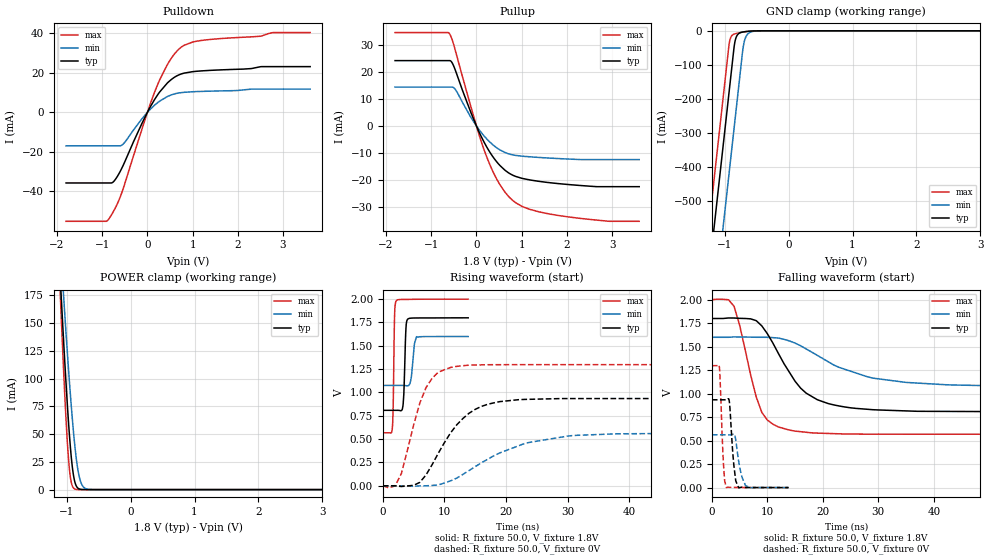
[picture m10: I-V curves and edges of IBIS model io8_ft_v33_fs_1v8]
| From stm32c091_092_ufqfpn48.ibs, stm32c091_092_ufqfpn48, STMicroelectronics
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[Model]   io8_ft_v33_fs_1v8
Model_type I/O
Polarity   Non-Inverting
Enable   Active-Low
| CAP_THRESHOLD on pad IOFT is "UDTCAPC" :
| Rising=30.0% of vddiom   Falling=70.0% of vddiom
| C_comp min and max val. don't necessarily correlate with the min and max pvt
| but are the smallest and greatest pad capacitance found.
| var   typ   min   max
C_comp   1.89030pF  1.85603pF  1.94196pF
|C_comp_pullup   1.06881pF  1.07313pF  1.05620pF
|C_comp_pulldown   821.48315fF  782.90075fF  885.75547fF
Vinl = 800.0mV
Vinh = 1.0V
Vmeas = 900.0mV   | Reference voltage for timing measurements
Cref  = 50.0pF   | Timing specification test load capacitance value
Rref  = 1.0MOhm   | Timing specification test load resistance value
Vref  = 990.0mV   | Timing specification test load voltage
[Model Spec]
| TIME_THRESHOLD on pin ZIV33M is "CMOS" :
| Rising=50.0% of vddiom   Falling=50.0% of vddiom
Vinl 728.70000mV 652.70000mV 817.70000mV
Vinh 1.06430V 953.30000mV 1.16330V
| variable   typ   min   max
[Temperature Range] 25.0 125.0 -40.0
| variable   typ   min   max
[Voltage Range] 1.8V 1.6V 2.0V
| variable   typ   min   max
[POWER Clamp Reference] 1.8V 1.6V 2.0V
| variable   typ   min   max
[GND Clamp Reference] 0V 0V 0V
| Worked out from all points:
|   slope of the pulldown table from 0 to 0.27 V, typ, clamps not added: 26.3 ohm
|   slope of the pullup table from 0 to 0.27 V, typ, clamps not added: 30 ohm
|   GND clamp passes 1 mA (typ) near -0.61 V on its own axis
|   POWER clamp passes 1 mA (typ) near -0.81 V on its own axis
|   rising waveform, R_fixture 50.0, V_fixture 1.8V: 20-80 % time 275ps typ, 431ps min, 193ps max; typ from 0.809 V to 1.8 V
|   falling waveform, R_fixture 50.0, V_fixture 1.8V: 20-80 % time 6.6ns typ, 11.6ns min, 3.61ns max; typ from 1.8 V to 0.809 V
|   rising waveform, R_fixture 50.0, V_fixture 0V: 20-80 % time 5.83ns typ, 10.1ns min, 3.41ns max; typ from 0 V to 0.935 V
|   falling waveform, R_fixture 50.0, V_fixture 0V: 20-80 % time 701ps typ, 990ps min, 527ps max; typ from 0.935 V to 0 V
[POWER Clamp]
-1.8V     1.053A     933.5mA    1.262A
-1.1V     191.1mA    222.7mA    177.1mA
-1.08V    169mA      204.2mA    149.9mA
-1.05V    136.9mA    176.9mA    110.9mA
-1.01V    96.55mA    141.6mA    64.02mA
-980mV    68.91mA    116.4mA    35.23mA
-940mV    37.57mA    84.83mA    10.65mA
-880mV    8.969mA    44.34mA    807.4uA
-830mV    1.697mA    20.19mA    75.79uA
-790mV    394.2uA    8.787mA    11.25uA
-670mV    4.467uA    374.2uA    36.56nA
3.6V      0A         0A         0A
[GND Clamp]
-1.8V     -1.658A    -1.897A    -1.517A
-1.24V    -706mA     -945.3mA   -564.6mA
-1.05V    -383mA     -622.3mA   -241.6mA
-930mV    -179mA     -418.3mA   -38.91mA
-910mV    -145mA     -384.3mA   -22.02mA
-870mV    -77.01mA   -316.3mA   -11.35mA
-850mV    -44.09mA   -282.3mA   -9.519mA
-820mV    -19mA      -231.3mA   -7.801mA
-710mV    -3.257mA   -47.82mA   -3.606mA
-660mV    -1.938mA   -14.77mA   -2.175mA
-590mV    -790.4uA   -3.415mA   -786.7uA
3.6V      506.8pA    48.18nA    364.4pA
| variable   typ   min   max
[Pullup Reference] 1.8V 1.6V 2.0V
| variable   typ   min   max
[Pulldown Reference] 0V 0V 0V
[Pullup]
-1.8V     24.23mA    14.41mA    34.63mA
-600mV    24.23mA    14.41mA    34.31mA
-540mV    23.48mA    14.41mA    32.12mA
-460mV    20.37mA    13.36mA    27.59mA
-120mV    4.869mA    3.102mA    6.98mA
210mV     -7.259mA   -4.466mA   -10.7mA
510mV     -14.47mA   -8.758mA   -21.5mA
810mV     -18.3mA    -10.74mA   -27.71mA
1.18V     -19.99mA   -11.43mA   -30.89mA
1.74V     -21.24mA   -12.01mA   -32.98mA
2.94V     -22.49mA   -12.46mA   -35.33mA
3.6V      -22.49mA   -12.46mA   -35.33mA
[Pulldown]
-1.8V     -35.76mA   -16.97mA   -55.17mA
-910mV    -35.76mA   -16.97mA   -55.17mA
-830mV    -35.76mA   -16.97mA   -53.18mA
-720mV    -34.31mA   -16.97mA   -48.86mA
-540mV    -27.04mA   -16.13mA   -38.89mA
-120mV    -5.569mA   -3.236mA   -8.457mA
230mV     8.974mA    4.965mA    14.24mA
520mV     16.45mA    8.736mA    27.07mA
750mV     19.43mA    9.977mA    33.01mA
1.37V     21.21mA    10.7mA     36.84mA
2.78V     23.13mA    11.74mA    40.36mA
3.6V      23.13mA    11.74mA    40.37mA
[Ramp]
dV/dt_r 560.85481mV/5.73069ns 337.06665mV/10.10454ns 778.77252mV/3.34691ns
dV/dt_f 594.5735mV/6.56475ns 314.51418mV/11.56272ns 858.98497mV/3.55952ns
R_load = 50.0
| Removed startup time: 0s 0s 0s  .
| Removed end time: 13.85ns.
[Rising Waveform]
R_fixture   = 50.0
V_fixture   = 1.8V
V_fixture_min = 1.6V
V_fixture_max = 2.0V
0s        808.6mV    1.076V     568.1mV
1.5ns     808.6mV    1.076V     591.8mV
1.7ns     808.6mV    1.075V     927.7mV
1.9ns     808.6mV    1.076V     1.819V
2.2ns     808.6mV    1.076V     1.984V
3.25ns    849.5mV    1.076V     1.996V
3.75ns    1.683V     1.073V     1.997V
4ns       1.783V     1.071V     1.997V
5.45ns    1.798V     1.596V     1.998V
13.85ns   1.8V       1.599V     2V
| Removed startup time: 0s 0s 0s  .
| Removed end time: 249.0ns.
[Falling Waveform]
R_fixture   = 50.0
V_fixture   = 1.8V
V_fixture_min = 1.6V
V_fixture_max = 2.0V
0s        1.8V       1.6V       2V
3ns       1.806V     1.6V       1.999V
4ns       1.805V     1.604V     1.929V
8ns       1.777V     1.6V       964.3mV
10ns      1.638V     1.6V       719mV
15ns      1.131V     1.538V     601.2mV
18ns      970.4mV    1.442V     582.8mV
29ns      829.2mV    1.166V     569.1mV
43ns      810.8mV    1.093V     568.1mV
249ns     809mV      1.076V     568.4mV
| Removed startup time: 0s 0s 0s  .
| Removed end time: 249.0ns.
[Rising Waveform]
R_fixture   = 50.0
V_fixture   = 0V
V_fixture_min = 0V
V_fixture_max = 0V
0s        440.8nV    588.7nV    -2.975uV
2ns       14uV       -2.438uV   189uV
3ns       -7.619mV   94.61uV    129.7mV
6ns       36.86mV    -401.4uV   885.7mV
8ns       226.4mV    4.063mV    1.152V
11ns      567.7mV    53.4mV     1.268V
14ns      777.7mV    164mV      1.293V
23ns      925.5mV    453.1mV    1.298V
38ns      934.7mV    556.9mV    1.298V
249ns     934.8mV    561.8mV    1.298V
| Removed startup time: 0s 0s 0s  .
| Removed end time: 13.85ns.
[Falling Waveform]
R_fixture   = 50.0
V_fixture   = 0V
V_fixture_min = 0V
V_fixture_max = 0V
0s        934.6mV    561.6mV    1.298V
1.35ns    934.6mV    561.6mV    1.283V
2.1ns     934.6mV    561.6mV    241.8mV
2.6ns     934.1mV    561.6mV    2.455mV
3.15ns    915.4mV    561.4mV    2.983mV
3.95ns    245.2mV    571.2mV    2.081mV
4.3ns     73.45mV    507.9mV    1.934mV
4.85ns    -2.653mV   273.7mV    1.674mV
6.1ns     1.319mV    19.36mV    1.048mV
13.85ns   336.9uV    734.7uV    -45.53uV
